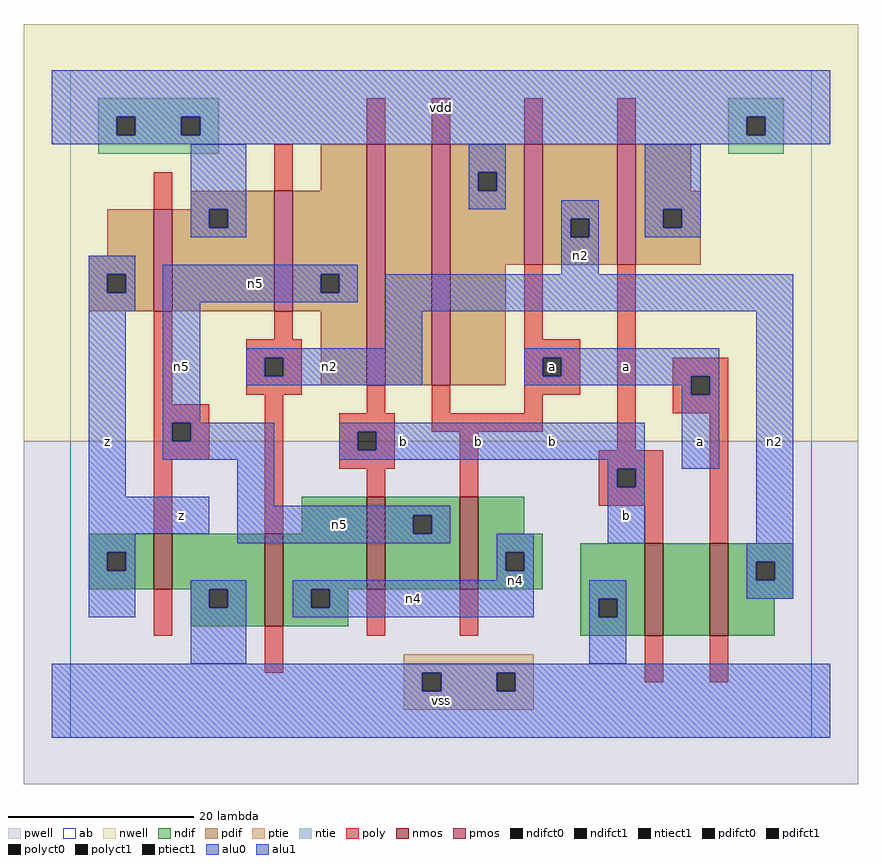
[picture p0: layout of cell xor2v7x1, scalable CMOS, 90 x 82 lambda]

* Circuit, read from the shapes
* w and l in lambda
.subckt xor2v7x1 a b n2 n4 n5 vdd vss z
M1 vss n5 z vss nfet w=6 l=2
M2 n4 n2 vss vss nfet w=10 l=2
M3 n5 b n4 vss nfet w=10 l=2
M4 n4 a n5 vss nfet w=10 l=2
M5 n1 b vss vss nfet w=10 l=2
M6 n2 a n1 vss nfet w=10 l=2
M7 vdd n5 z vdd pfet w=11 l=2
M8 n5 n2 vdd vdd pfet w=13 l=2
M9 n3 b n5 vdd pfet w=26 l=2
M10 vdd a n3 vdd pfet w=26 l=2
M11 n2 a vdd vdd pfet w=13 l=2
M12 vdd b n2 vdd pfet w=13 l=2
.ends

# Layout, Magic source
magic
tech scmos
<< ab >>
rect 0 0 80 72
<< nwell >>
rect -5 32 85 77
<< pwell >>
rect -5 -5 85 32
<< poly >>
rect 32 64 34 69
rect 39 64 41 69
rect 49 64 51 69
rect 59 64 61 69
rect 9 57 11 61
rect 22 59 24 64
rect 9 36 11 46
rect 22 43 24 46
rect 19 41 25 43
rect 19 39 21 41
rect 23 39 25 41
rect 19 37 25 39
rect 49 43 51 51
rect 49 41 55 43
rect 49 39 51 41
rect 53 39 55 41
rect 9 34 15 36
rect 9 32 11 34
rect 13 32 15 34
rect 9 30 15 32
rect 9 22 11 30
rect 21 22 23 37
rect 32 35 34 38
rect 39 35 41 38
rect 49 37 55 39
rect 49 35 51 37
rect 29 33 35 35
rect 39 33 51 35
rect 29 31 31 33
rect 33 31 35 33
rect 29 29 35 31
rect 32 26 34 29
rect 42 26 44 33
rect 59 31 61 51
rect 65 39 71 41
rect 65 37 67 39
rect 69 37 71 39
rect 65 35 71 37
rect 57 29 64 31
rect 57 27 59 29
rect 61 27 64 29
rect 9 11 11 16
rect 57 25 64 27
rect 62 21 64 25
rect 69 21 71 35
rect 21 7 23 12
rect 32 11 34 16
rect 42 11 44 16
rect 62 6 64 11
rect 69 6 71 11
<< ndif >>
rect 25 22 32 26
rect 2 20 9 22
rect 2 18 4 20
rect 6 18 9 20
rect 2 16 9 18
rect 11 16 21 22
rect 13 14 15 16
rect 17 14 21 16
rect 13 12 21 14
rect 23 16 32 22
rect 34 24 42 26
rect 34 22 37 24
rect 39 22 42 24
rect 34 16 42 22
rect 44 22 49 26
rect 44 20 51 22
rect 44 18 47 20
rect 49 18 51 20
rect 44 16 51 18
rect 23 14 26 16
rect 28 14 30 16
rect 23 12 30 14
rect 55 15 62 21
rect 55 13 57 15
rect 59 13 62 15
rect 55 11 62 13
rect 64 11 69 21
rect 71 19 78 21
rect 71 17 74 19
rect 76 17 78 19
rect 71 15 78 17
rect 71 11 76 15
<< pdif >>
rect 27 59 32 64
rect 13 57 22 59
rect 4 52 9 57
rect 2 50 9 52
rect 2 48 4 50
rect 6 48 9 50
rect 2 46 9 48
rect 11 55 15 57
rect 17 55 22 57
rect 11 46 22 55
rect 24 50 32 59
rect 24 48 27 50
rect 29 48 32 50
rect 24 46 32 48
rect 27 38 32 46
rect 34 38 39 64
rect 41 61 49 64
rect 41 59 44 61
rect 46 59 49 61
rect 41 51 49 59
rect 51 56 59 64
rect 51 54 54 56
rect 56 54 59 56
rect 51 51 59 54
rect 61 59 67 64
rect 61 57 68 59
rect 61 55 64 57
rect 66 55 68 57
rect 61 51 68 55
rect 41 38 47 51
<< alu1 >>
rect -2 67 82 72
rect -2 65 5 67
rect 7 65 12 67
rect 14 65 73 67
rect 75 65 82 67
rect -2 64 82 65
rect 2 50 7 52
rect 2 48 4 50
rect 6 48 7 50
rect 2 46 7 48
rect 2 26 6 46
rect 49 41 70 42
rect 49 39 51 41
rect 53 39 70 41
rect 49 38 67 39
rect 66 37 67 38
rect 69 37 70 39
rect 29 33 62 34
rect 29 31 31 33
rect 33 31 62 33
rect 29 30 62 31
rect 2 22 15 26
rect 58 29 62 30
rect 66 29 70 37
rect 58 27 59 29
rect 61 27 62 29
rect 2 20 7 22
rect 2 18 4 20
rect 6 18 7 20
rect 2 13 7 18
rect 58 21 62 27
rect -2 7 82 8
rect -2 5 38 7
rect 40 5 46 7
rect 48 5 82 7
rect -2 0 82 5
<< ptie >>
rect 36 7 50 9
rect 36 5 38 7
rect 40 5 46 7
rect 48 5 50 7
rect 36 3 50 5
<< ntie >>
rect 3 67 16 69
rect 3 65 5 67
rect 7 65 12 67
rect 14 65 16 67
rect 3 63 16 65
rect 71 67 77 69
rect 71 65 73 67
rect 75 65 77 67
rect 71 63 77 65
<< nmos >>
rect 9 16 11 22
rect 21 12 23 22
rect 32 16 34 26
rect 42 16 44 26
rect 62 11 64 21
rect 69 11 71 21
<< pmos >>
rect 9 46 11 57
rect 22 46 24 59
rect 32 38 34 64
rect 39 38 41 64
rect 49 51 51 64
rect 59 51 61 64
<< polyct0 >>
rect 21 39 23 41
rect 11 32 13 34
<< polyct1 >>
rect 51 39 53 41
rect 31 31 33 33
rect 67 37 69 39
rect 59 27 61 29
<< ndifct0 >>
rect 15 14 17 16
rect 37 22 39 24
rect 47 18 49 20
rect 26 14 28 16
rect 57 13 59 15
rect 74 17 76 19
<< ndifct1 >>
rect 4 18 6 20
<< ntiect1 >>
rect 5 65 7 67
rect 12 65 14 67
rect 73 65 75 67
<< ptiect1 >>
rect 38 5 40 7
rect 46 5 48 7
<< pdifct0 >>
rect 15 55 17 57
rect 27 48 29 50
rect 44 59 46 61
rect 54 54 56 56
rect 64 55 66 57
<< pdifct1 >>
rect 4 48 6 50
<< alu0 >>
rect 13 57 19 64
rect 43 61 47 64
rect 43 59 44 61
rect 46 59 47 61
rect 43 57 47 59
rect 13 55 15 57
rect 17 55 19 57
rect 13 54 19 55
rect 53 56 57 58
rect 53 54 54 56
rect 56 54 57 56
rect 62 57 68 64
rect 62 55 64 57
rect 66 55 68 57
rect 62 54 68 55
rect 10 50 31 51
rect 53 50 57 54
rect 10 48 27 50
rect 29 48 31 50
rect 10 47 31 48
rect 10 34 14 47
rect 34 46 78 50
rect 34 42 38 46
rect 19 41 38 42
rect 19 39 21 41
rect 23 39 38 41
rect 19 38 38 39
rect 10 32 11 34
rect 13 32 22 34
rect 10 30 22 32
rect 18 25 22 30
rect 18 24 41 25
rect 18 22 37 24
rect 39 22 41 24
rect 18 21 41 22
rect 46 20 50 22
rect 74 21 78 46
rect 46 18 47 20
rect 49 18 50 20
rect 46 17 50 18
rect 73 19 78 21
rect 73 17 74 19
rect 76 17 78 19
rect 13 16 19 17
rect 13 14 15 16
rect 17 14 19 16
rect 13 8 19 14
rect 24 16 50 17
rect 24 14 26 16
rect 28 14 50 16
rect 24 13 50 14
rect 56 15 60 17
rect 73 15 78 17
rect 56 13 57 15
rect 59 13 60 15
rect 56 8 60 13
<< labels >>
rlabel alu0 12 40 12 40 6 n5
rlabel alu0 28 40 28 40 6 n2
rlabel alu0 20 49 20 49 6 n5
rlabel alu0 37 15 37 15 6 n4
rlabel alu0 48 17 48 17 6 n4
rlabel alu0 29 23 29 23 6 n5
rlabel alu0 55 52 55 52 6 n2
rlabel alu0 76 32 76 32 6 n2
rlabel alu1 4 32 4 32 6 z
rlabel alu1 12 24 12 24 6 z
rlabel alu1 36 32 36 32 6 b
rlabel alu1 40 4 40 4 6 vss
rlabel alu1 44 32 44 32 6 b
rlabel alu1 52 32 52 32 6 b
rlabel polyct1 52 40 52 40 6 a
rlabel alu1 40 68 40 68 6 vdd
rlabel alu1 60 24 60 24 6 b
rlabel alu1 68 32 68 32 6 a
rlabel alu1 60 40 60 40 6 a
<< end >>
